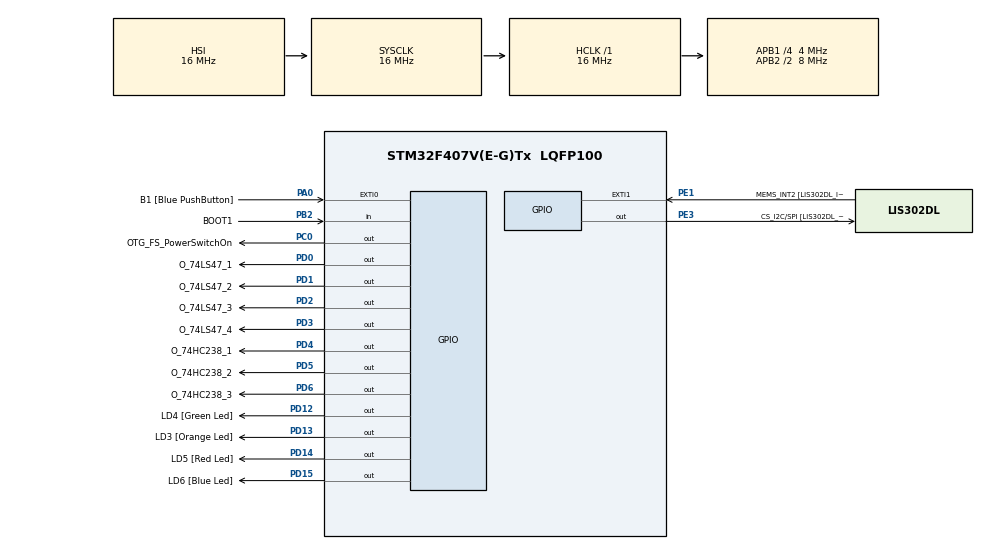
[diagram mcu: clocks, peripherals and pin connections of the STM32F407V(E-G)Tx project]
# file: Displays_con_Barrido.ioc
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Mcu.Family=STM32F4
Mcu.Name=STM32F407V(E-G)Tx
Mcu.Package=LQFP100
NVIC.PriorityGroup=NVIC_PRIORITYGROUP_0
PA0-WKUP.GPIO_Label=B1 [Blue PushButton]
PA0-WKUP.Signal=GPXTI0
PA10.GPIO_Label=OTG_FS_ID
PA10.GPIO_Mode=GPIO_MODE_AF_PP
PA10.GPIO_PuPd=GPIO_NOPULL
PA10.GPIO_Speed=GPIO_SPEED_FREQ_LOW
PA10.Signal=USB_OTG_FS_ID
PA11.GPIO_Label=OTG_FS_DM
PA11.GPIO_Mode=GPIO_MODE_AF_PP
PA11.GPIO_PuPd=GPIO_NOPULL
PA11.GPIO_Speed=GPIO_SPEED_FREQ_LOW
PA11.Signal=USB_OTG_FS_DM
PA12.GPIO_Label=OTG_FS_DP
PA12.GPIO_Mode=GPIO_MODE_AF_PP
PA12.GPIO_PuPd=GPIO_NOPULL
PA12.GPIO_Speed=GPIO_SPEED_FREQ_LOW
PA12.Signal=USB_OTG_FS_DP
PA13.GPIO_Label=SWDIO
PA13.Signal=SYS_JTMS-SWDIO
PA14.GPIO_Label=SWCLK
PA14.Signal=SYS_JTCK-SWCLK
PA4.GPIO_Label=I2S3_WS [CS43L22_LRCK]
PA4.GPIO_Mode=GPIO_MODE_AF_PP
PA4.GPIO_PuPd=GPIO_NOPULL
PA4.GPIO_Speed=GPIO_SPEED_FREQ_LOW
PA4.Signal=I2S3_WS
PA5.GPIO_Label=SPI1_SCK [LIS302DL_SCL/SPC]
PA5.GPIO_Mode=GPIO_MODE_AF_PP
PA5.GPIO_PuPd=GPIO_NOPULL
PA5.GPIO_Speed=GPIO_SPEED_FREQ_LOW
PA5.Signal=SPI1_SCK
PA6.GPIO_Label=SPI1_MISO [LIS302DL_SDO]
PA6.GPIO_Mode=GPIO_MODE_AF_PP
PA6.GPIO_PuPd=GPIO_NOPULL
PA6.GPIO_Speed=GPIO_SPEED_FREQ_LOW
PA6.Signal=SPI1_MISO
PA7.GPIO_Label=SPI1_MOSI [LIS302DL_SDA/SDI/SDO]
PA7.GPIO_Mode=GPIO_MODE_AF_PP
PA7.GPIO_PuPd=GPIO_NOPULL
PA7.GPIO_Speed=GPIO_SPEED_FREQ_LOW
PA7.Signal=SPI1_MOSI
PA9.GPIO_Label=VBUS_FS
PA9.GPIO_Mode=GPIO_MODE_INPUT
PA9.GPIO_PuPd=GPIO_NOPULL
PA9.Signal=USB_OTG_FS_VBUS
PB10.GPIO_Label=CLK_IN [MP45DT02_CLK]
PB10.GPIO_Mode=GPIO_MODE_AF_PP
PB10.GPIO_PuPd=GPIO_NOPULL
PB10.GPIO_Speed=GPIO_SPEED_FREQ_LOW
PB10.Signal=I2S2_CK
PB2.GPIO_Label=BOOT1
PB2.GPIO_Mode=GPIO_MODE_INPUT
PB2.GPIO_PuPd=GPIO_NOPULL
PB2.Signal=GPIO_Input
PB3.GPIO_Label=SWO
PB3.Signal=SYS_JTDO-SWO
PB6.GPIO_Label=Audio_SCL [CS43L22_SCL]
PB6.GPIO_Mode=GPIO_MODE_AF_OD
PB6.GPIO_PuPd=GPIO_NOPULL
PB6.GPIO_Speed=GPIO_SPEED_FREQ_LOW
PB6.Signal=I2C1_SCL
PB9.GPIO_Label=Audio_SDA [CS43L22_SDA]
PB9.GPIO_Mode=GPIO_MODE_AF_OD
PB9.GPIO_PuPd=GPIO_NOPULL
PB9.GPIO_Speed=GPIO_SPEED_FREQ_LOW
PB9.Signal=I2C1_SDA
PC0.GPIO_Label=OTG_FS_PowerSwitchOn
PC0.GPIO_PuPd=GPIO_NOPULL
PC0.GPIO_Speed=GPIO_SPEED_FREQ_LOW
PC0.PinState=GPIO_PIN_SET
PC0.Signal=GPIO_Output
PC10.GPIO_Label=I2S3_SCK [CS43L22_SCLK]
PC10.GPIO_Mode=GPIO_MODE_AF_PP
PC10.GPIO_PuPd=GPIO_NOPULL
PC10.GPIO_Speed=GPIO_SPEED_FREQ_LOW
PC10.Signal=I2S3_CK
PC12.GPIO_Label=I2S3_SD [CS43L22_SDIN]
PC12.GPIO_Mode=GPIO_MODE_AF_PP
PC12.GPIO_PuPd=GPIO_NOPULL
PC12.GPIO_Speed=GPIO_SPEED_FREQ_LOW
PC12.Signal=I2S3_SD
PC14-OSC32_IN.GPIO_Label=PC14-OSC32_IN
PC14-OSC32_IN.Signal=RCC_OSC32_IN
PC15-OSC32_OUT.GPIO_Label=PC15-OSC32_OUT
PC15-OSC32_OUT.Signal=RCC_OSC32_OUT
PC3.GPIO_Label=PDM_OUT [MP45DT02_DOUT]
PC3.GPIO_Mode=GPIO_MODE_AF_PP
PC3.GPIO_PuPd=GPIO_NOPULL
PC3.GPIO_Speed=GPIO_SPEED_FREQ_LOW
PC3.Signal=I2S2_SD
PC7.GPIO_Label=I2S3_MCK [CS43L22_MCLK]
PC7.GPIO_Mode=GPIO_MODE_AF_PP
PC7.GPIO_PuPd=GPIO_NOPULL
PC7.GPIO_Speed=GPIO_SPEED_FREQ_LOW
PC7.Signal=I2S3_MCK
PD0.GPIO_Label=O_74LS47_1
PD0.Signal=GPIO_Output
PD1.GPIO_Label=O_74LS47_2
PD1.Signal=GPIO_Output
PD12.GPIO_Label=LD4 [Green Led]
PD12.GPIO_PuPd=GPIO_NOPULL
PD12.GPIO_Speed=GPIO_SPEED_FREQ_LOW
PD12.Signal=GPIO_Output
PD13.GPIO_Label=LD3 [Orange Led]
PD13.GPIO_PuPd=GPIO_NOPULL
PD13.GPIO_Speed=GPIO_SPEED_FREQ_LOW
PD13.Signal=GPIO_Output
PD14.GPIO_Label=LD5 [Red Led]
PD14.GPIO_PuPd=GPIO_NOPULL
PD14.GPIO_Speed=GPIO_SPEED_FREQ_LOW
PD14.Signal=GPIO_Output
PD15.GPIO_Label=LD6 [Blue Led]
PD15.GPIO_PuPd=GPIO_NOPULL
PD15.GPIO_Speed=GPIO_SPEED_FREQ_LOW
PD15.Signal=GPIO_Output
PD2.GPIO_Label=O_74LS47_3
PD2.Signal=GPIO_Output
PD3.GPIO_Label=O_74LS47_4
PD3.Signal=GPIO_Output
PD4.GPIO_Label=O_74HC238_1
PD4.Signal=GPIO_Output
PD5.GPIO_Label=O_74HC238_2
PD5.Signal=GPIO_Output
PD6.GPIO_Label=O_74HC238_3
PD6.Signal=GPIO_Output
PE1.GPIO_Label=MEMS_INT2 [LIS302DL_INT2]
PE1.GPIO_ModeDefaultEXTI=GPIO_MODE_EVT_RISING
PE1.GPIO_PuPd=GPIO_NOPULL
PE1.Signal=GPXTI1
PE3.GPIO_Label=CS_I2C/SPI [LIS302DL_CS_I2C/SPI]
PE3.GPIO_PuPd=GPIO_NOPULL
PE3.GPIO_Speed=GPIO_SPEED_FREQ_LOW
PE3.Signal=GPIO_Output
PH0-OSC_IN.GPIO_Label=PH0-OSC_IN
PH0-OSC_IN.Signal=RCC_OSC_IN
PH1-OSC_OUT.GPIO_Label=PH1-OSC_OUT
PH1-OSC_OUT.Signal=RCC_OSC_OUT
ProjectManager.HeapSize=0x200
ProjectManager.StackSize=0x400
ProjectManager.TargetToolchain=STM32CubeIDE
RCC.48MHZClocksFreq_Value=14285714.285714285
RCC.AHBFreq_Value=16000000
RCC.APB1CLKDivider=RCC_HCLK_DIV4
RCC.APB1Freq_Value=4000000
RCC.APB1TimFreq_Value=8000000
RCC.APB2CLKDivider=RCC_HCLK_DIV2
RCC.APB2Freq_Value=8000000
RCC.APB2TimFreq_Value=16000000
RCC.CortexFreq_Value=16000000
RCC.HCLKFreq_Value=16000000
RCC.HSE_VALUE=8000000
RCC.HSI_VALUE=16000000
RCC.LSE_VALUE=32768
RCC.PLLM=8
RCC.PLLN=50
RCC.PLLP=RCC_PLLP_DIV4
RCC.PLLQ=7
RCC.SYSCLKFreq_VALUE=16000000
RCC.VCOOutputFreq_Value=100000000
board=STM32F407G-DISC1

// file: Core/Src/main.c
/* USER CODE BEGIN Header */
/**
  ******************************************************************************
  * @file           : main.c
  * @brief          : Main program body
  ******************************************************************************
  * @attention
  *
  * <h2><center>&copy; Copyright (c) 2020 STMicroelectronics.
  * All rights reserved.</center></h2>
  *
  * This software component is licensed by ST under BSD 3-Clause license,
  * the "License"; You may not use this file except in compliance with the
  * License. You may obtain a copy of the License at:
  *                        opensource.org/licenses/BSD-3-Clause
  *
  ******************************************************************************
  */
/* USER CODE END Header */
#include "main.h"

/* USER CODE BEGIN Includes */
#include "stm32f4xx.h"
#include "math.h"
#include "stdbool.h"
/* USER CODE END Includes */

/* USER CODE BEGIN PV */
int D[8]={0x00, 0x10, 0x20, 0x30, 0x40, 0x50, 0x60, 0x70};
int numeros[10]={0x0,0x1,0x2,0x3,0x4,0x5,0x6,0x7,0x8,0x9};
int delay = 1;						//tiempo de encendido de cada display
bool run = false;
int dn[]={88888888,11111111};
int i=0;
int dig[8];
int start=0;
int espera=1000;
int dc= sizeof(dn) / sizeof(dn[0]);
/* USER CODE END PV */

void SystemClock_Config(void);
static void MX_GPIO_Init(void);
/* USER CODE BEGIN PFP */
void displayNumber(int numero);
void setDisplay(int di[]);

void SysInit(void);
/* USER CODE END PFP */

/* USER CODE BEGIN 0 */
void displayNumber(int count){
	int power;
	for(int i=0; i<8; i++){
		power = pow(10,(i+1));
		dig[i]=(count%power)/(pow(10,i));
	}
}
void setDisplay(int dig[]){
	for(int i=0; i<8; i++){
		GPIOD->ODR=numeros[dig[i]]+D[i];
		HAL_Delay(delay);
	}
}
/* USER CODE END 0 */

int main(void)
{

  /* MCU Configuration--------------------------------------------------------*/

  /* Reset of all peripherals, Initializes the Flash interface and the Systick. */
  HAL_Init();

  /* Configure the system clock */
  SystemClock_Config();

  /* Initialize all configured peripherals */
  MX_GPIO_Init();

  /* Infinite loop */
  while (1)
  {

    /* USER CODE BEGIN 3 */
	  if(run==false){
		  displayNumber(dn[i]);
		  i++;
		  run=true;
	  }
	  setDisplay(dig);		//ejecucion de 16ms
	  if((HAL_GetTick() - start) > espera){
		  start = HAL_GetTick();
		  run=false;
		  if(i==dc){
			  i=0;
		  }
	  }
  }
  /* USER CODE END 3 */
}

void SystemClock_Config(void)
{
  RCC_OscInitTypeDef RCC_OscInitStruct = {0};
  RCC_ClkInitTypeDef RCC_ClkInitStruct = {0};

  /** Configure the main internal regulator output voltage
  */
  __HAL_RCC_PWR_CLK_ENABLE();
  __HAL_PWR_VOLTAGESCALING_CONFIG(PWR_REGULATOR_VOLTAGE_SCALE1);
  /** Initializes the RCC Oscillators according to the specified parameters
  * in the RCC_OscInitTypeDef structure.
  */
  RCC_OscInitStruct.OscillatorType = RCC_OSCILLATORTYPE_HSI;
  RCC_OscInitStruct.HSIState = RCC_HSI_ON;
  RCC_OscInitStruct.HSICalibrationValue = RCC_HSICALIBRATION_DEFAULT;
  RCC_OscInitStruct.PLL.PLLState = RCC_PLL_NONE;
  if (HAL_RCC_OscConfig(&RCC_OscInitStruct) != HAL_OK)
  {
    Error_Handler();
  }
  /** Initializes the CPU, AHB and APB buses clocks
  */
  RCC_ClkInitStruct.ClockType = RCC_CLOCKTYPE_HCLK|RCC_CLOCKTYPE_SYSCLK
                              |RCC_CLOCKTYPE_PCLK1|RCC_CLOCKTYPE_PCLK2;
  RCC_ClkInitStruct.SYSCLKSource = RCC_SYSCLKSOURCE_HSI;
  RCC_ClkInitStruct.AHBCLKDivider = RCC_SYSCLK_DIV1;
  RCC_ClkInitStruct.APB1CLKDivider = RCC_HCLK_DIV4;
  RCC_ClkInitStruct.APB2CLKDivider = RCC_HCLK_DIV2;

  if (HAL_RCC_ClockConfig(&RCC_ClkInitStruct, FLASH_LATENCY_0) != HAL_OK)
  {
    Error_Handler();
  }
}

static void MX_GPIO_Init(void)
{
  GPIO_InitTypeDef GPIO_InitStruct = {0};

  /* GPIO Ports Clock Enable */
  __HAL_RCC_GPIOE_CLK_ENABLE();
  __HAL_RCC_GPIOC_CLK_ENABLE();
  __HAL_RCC_GPIOH_CLK_ENABLE();
  __HAL_RCC_GPIOA_CLK_ENABLE();
  __HAL_RCC_GPIOB_CLK_ENABLE();
  __HAL_RCC_GPIOD_CLK_ENABLE();

  /*Configure GPIO pin Output Level */
  HAL_GPIO_WritePin(CS_I2C_SPI_GPIO_Port, CS_I2C_SPI_Pin, GPIO_PIN_RESET);

  /*Configure GPIO pin Output Level */
  HAL_GPIO_WritePin(OTG_FS_PowerSwitchOn_GPIO_Port, OTG_FS_PowerSwitchOn_Pin, GPIO_PIN_SET);

  /*Configure GPIO pin Output Level */
  HAL_GPIO_WritePin(GPIOD, LD4_Pin|LD3_Pin|LD5_Pin|LD6_Pin
                          |O_74LS47_1_Pin|O_74LS47_2_Pin|O_74LS47_3_Pin|O_74LS47_4_Pin
                          |O_74HC238_1_Pin|O_74HC238_2_Pin|O_74HC238_3_Pin, GPIO_PIN_RESET);

  /*Configure GPIO pin : CS_I2C_SPI_Pin */
  GPIO_InitStruct.Pin = CS_I2C_SPI_Pin;
  GPIO_InitStruct.Mode = GPIO_MODE_OUTPUT_PP;
  GPIO_InitStruct.Pull = GPIO_NOPULL;
  GPIO_InitStruct.Speed = GPIO_SPEED_FREQ_LOW;
  HAL_GPIO_Init(CS_I2C_SPI_GPIO_Port, &GPIO_InitStruct);

  /*Configure GPIO pin : OTG_FS_PowerSwitchOn_Pin */
  GPIO_InitStruct.Pin = OTG_FS_PowerSwitchOn_Pin;
  GPIO_InitStruct.Mode = GPIO_MODE_OUTPUT_PP;
  GPIO_InitStruct.Pull = GPIO_NOPULL;
  GPIO_InitStruct.Speed = GPIO_SPEED_FREQ_LOW;
  HAL_GPIO_Init(OTG_FS_PowerSwitchOn_GPIO_Port, &GPIO_InitStruct);

  /*Configure GPIO pin : PDM_OUT_Pin */
  GPIO_InitStruct.Pin = PDM_OUT_Pin;
  GPIO_InitStruct.Mode = GPIO_MODE_AF_PP;
  GPIO_InitStruct.Pull = GPIO_NOPULL;
  GPIO_InitStruct.Speed = GPIO_SPEED_FREQ_LOW;
  GPIO_InitStruct.Alternate = GPIO_AF5_SPI2;
  HAL_GPIO_Init(PDM_OUT_GPIO_Port, &GPIO_InitStruct);

  /*Configure GPIO pin : B1_Pin */
  GPIO_InitStruct.Pin = B1_Pin;
  GPIO_InitStruct.Mode = GPIO_MODE_IT_RISING;
  GPIO_InitStruct.Pull = GPIO_NOPULL;
  HAL_GPIO_Init(B1_GPIO_Port, &GPIO_InitStruct);

  /*Configure GPIO pin : I2S3_WS_Pin */
  GPIO_InitStruct.Pin = I2S3_WS_Pin;
  GPIO_InitStruct.Mode = GPIO_MODE_AF_PP;
  GPIO_InitStruct.Pull = GPIO_NOPULL;
  GPIO_InitStruct.Speed = GPIO_SPEED_FREQ_LOW;
  GPIO_InitStruct.Alternate = GPIO_AF6_SPI3;
  HAL_GPIO_Init(I2S3_WS_GPIO_Port, &GPIO_InitStruct);

  /*Configure GPIO pins : SPI1_SCK_Pin SPI1_MISO_Pin SPI1_MOSI_Pin */
  GPIO_InitStruct.Pin = SPI1_SCK_Pin|SPI1_MISO_Pin|SPI1_MOSI_Pin;
  GPIO_InitStruct.Mode = GPIO_MODE_AF_PP;
  GPIO_InitStruct.Pull = GPIO_NOPULL;
  GPIO_InitStruct.Speed = GPIO_SPEED_FREQ_LOW;
  GPIO_InitStruct.Alternate = GPIO_AF5_SPI1;
  HAL_GPIO_Init(GPIOA, &GPIO_InitStruct);

  /*Configure GPIO pin : BOOT1_Pin */
  GPIO_InitStruct.Pin = BOOT1_Pin;
  GPIO_InitStruct.Mode = GPIO_MODE_INPUT;
  GPIO_InitStruct.Pull = GPIO_NOPULL;
  HAL_GPIO_Init(BOOT1_GPIO_Port, &GPIO_InitStruct);

  /*Configure GPIO pin : CLK_IN_Pin */
  GPIO_InitStruct.Pin = CLK_IN_Pin;
  GPIO_InitStruct.Mode = GPIO_MODE_AF_PP;
  GPIO_InitStruct.Pull = GPIO_NOPULL;
  GPIO_InitStruct.Speed = GPIO_SPEED_FREQ_LOW;
  GPIO_InitStruct.Alternate = GPIO_AF5_SPI2;
  HAL_GPIO_Init(CLK_IN_GPIO_Port, &GPIO_InitStruct);

  /*Configure GPIO pins : LD4_Pin LD3_Pin LD5_Pin LD6_Pin
                           O_74LS47_1_Pin O_74LS47_2_Pin O_74LS47_3_Pin O_74LS47_4_Pin
                           O_74HC238_1_Pin O_74HC238_2_Pin O_74HC238_3_Pin */
  GPIO_InitStruct.Pin = LD4_Pin|LD3_Pin|LD5_Pin|LD6_Pin
                          |O_74LS47_1_Pin|O_74LS47_2_Pin|O_74LS47_3_Pin|O_74LS47_4_Pin
                          |O_74HC238_1_Pin|O_74HC238_2_Pin|O_74HC238_3_Pin;
  GPIO_InitStruct.Mode = GPIO_MODE_OUTPUT_PP;
  GPIO_InitStruct.Pull = GPIO_NOPULL;
  GPIO_InitStruct.Speed = GPIO_SPEED_FREQ_LOW;
  HAL_GPIO_Init(GPIOD, &GPIO_InitStruct);

  /*Configure GPIO pins : I2S3_MCK_Pin I2S3_SCK_Pin I2S3_SD_Pin */
  GPIO_InitStruct.Pin = I2S3_MCK_Pin|I2S3_SCK_Pin|I2S3_SD_Pin;
  GPIO_InitStruct.Mode = GPIO_MODE_AF_PP;
  GPIO_InitStruct.Pull = GPIO_NOPULL;
  GPIO_InitStruct.Speed = GPIO_SPEED_FREQ_LOW;
  GPIO_InitStruct.Alternate = GPIO_AF6_SPI3;
  HAL_GPIO_Init(GPIOC, &GPIO_InitStruct);

  /*Configure GPIO pin : VBUS_FS_Pin */
  GPIO_InitStruct.Pin = VBUS_FS_Pin;
  GPIO_InitStruct.Mode = GPIO_MODE_INPUT;
  GPIO_InitStruct.Pull = GPIO_NOPULL;
  HAL_GPIO_Init(VBUS_FS_GPIO_Port, &GPIO_InitStruct);

  /*Configure GPIO pins : OTG_FS_ID_Pin OTG_FS_DM_Pin OTG_FS_DP_Pin */
  GPIO_InitStruct.Pin = OTG_FS_ID_Pin|OTG_FS_DM_Pin|OTG_FS_DP_Pin;
  GPIO_InitStruct.Mode = GPIO_MODE_AF_PP;
  GPIO_InitStruct.Pull = GPIO_NOPULL;
  GPIO_InitStruct.Speed = GPIO_SPEED_FREQ_LOW;
  GPIO_InitStruct.Alternate = GPIO_AF10_OTG_FS;
  HAL_GPIO_Init(GPIOA, &GPIO_InitStruct);

  /*Configure GPIO pins : Audio_SCL_Pin Audio_SDA_Pin */
  GPIO_InitStruct.Pin = Audio_SCL_Pin|Audio_SDA_Pin;
  GPIO_InitStruct.Mode = GPIO_MODE_AF_OD;
  GPIO_InitStruct.Pull = GPIO_PULLUP;
  GPIO_InitStruct.Speed = GPIO_SPEED_FREQ_LOW;
  GPIO_InitStruct.Alternate = GPIO_AF4_I2C1;
  HAL_GPIO_Init(GPIOB, &GPIO_InitStruct);

  /*Configure GPIO pin : MEMS_INT2_Pin */
  GPIO_InitStruct.Pin = MEMS_INT2_Pin;
  GPIO_InitStruct.Mode = GPIO_MODE_EVT_RISING;
  GPIO_InitStruct.Pull = GPIO_NOPULL;
  HAL_GPIO_Init(MEMS_INT2_GPIO_Port, &GPIO_InitStruct);

}

void Error_Handler(void)
{
}

/************************ (C) COPYRIGHT STMicroelectronics *****END OF FILE****/
